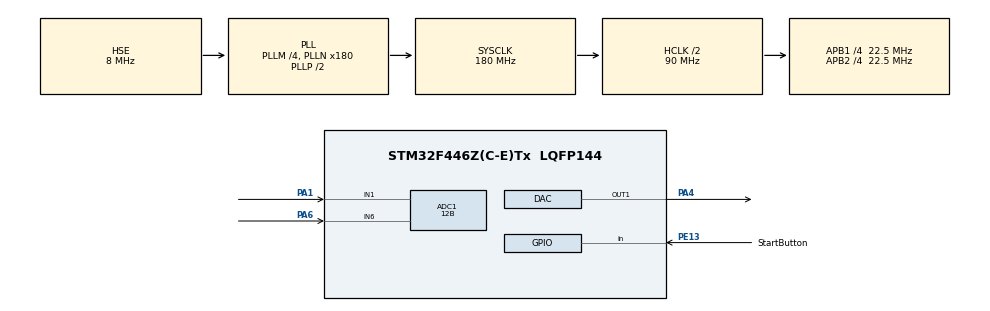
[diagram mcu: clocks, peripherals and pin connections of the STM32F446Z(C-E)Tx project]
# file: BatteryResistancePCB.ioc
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ADC1.Channel-0\#ChannelRegularConversion=ADC_CHANNEL_1
ADC1.Channel-1\#ChannelRegularConversion=ADC_CHANNEL_6
ADC1.ClockPrescaler=ADC_CLOCK_SYNC_PCLK_DIV2
ADC1.ContinuousConvMode=DISABLE
ADC1.DMAContinuousRequests=DISABLE
ADC1.DataAlign=ADC_DATAALIGN_RIGHT
ADC1.DiscontinuousConvMode=DISABLE
ADC1.EOCSelection=ADC_EOC_SINGLE_CONV
ADC1.EnableAnalogWatchDog=false
ADC1.ExternalTrigConv=ADC_SOFTWARE_START
ADC1.ExternalTrigConvEdge=ADC_EXTERNALTRIGCONVEDGE_NONE
ADC1.InjNumberOfConversion=0
ADC1.NbrOfConversion=2
ADC1.NbrOfConversionFlag=1
ADC1.Rank-0\#ChannelRegularConversion=1
ADC1.Rank-1\#ChannelRegularConversion=2
ADC1.Resolution=ADC_RESOLUTION_12B
ADC1.SamplingTime-0\#ChannelRegularConversion=ADC_SAMPLETIME_480CYCLES
ADC1.SamplingTime-1\#ChannelRegularConversion=ADC_SAMPLETIME_480CYCLES
ADC1.ScanConvMode=ENABLE
ADC1.master=1
Mcu.Family=STM32F4
Mcu.Name=STM32F446Z(C-E)Tx
Mcu.Package=LQFP144
NVIC.PriorityGroup=NVIC_PRIORITYGROUP_4
PA1.Signal=ADCx_IN1
PA4.Signal=COMP_DAC1_group
PA6.Signal=ADCx_IN6
PE13.GPIO_Label=StartButton
PE13.GPIO_PuPd=GPIO_PULLUP
PE13.Signal=GPIO_Input
PH0-OSC_IN.Mode=HSE-External-Oscillator
PH0-OSC_IN.Signal=RCC_OSC_IN
PH1-OSC_OUT.Mode=HSE-External-Oscillator
PH1-OSC_OUT.Signal=RCC_OSC_OUT
ProjectManager.HeapSize=0x200
ProjectManager.StackSize=0x400
ProjectManager.TargetToolchain=MDK-ARM V5
RCC.AHBCLKDivider=RCC_SYSCLK_DIV2
RCC.AHBFreq_Value=90000000
RCC.APB1CLKDivider=RCC_HCLK_DIV4
RCC.APB1Freq_Value=22500000
RCC.APB1TimFreq_Value=45000000
RCC.APB2CLKDivider=RCC_HCLK_DIV4
RCC.APB2Freq_Value=22500000
RCC.APB2TimFreq_Value=45000000
RCC.CortexFreq_Value=90000000
RCC.HCLKFreq_Value=90000000
RCC.HSE_VALUE=8000000
RCC.PLLM=4
RCC.PLLN=180
RCC.PLLSourceVirtual=RCC_PLLSOURCE_HSE
RCC.SYSCLKFreq_VALUE=180000000
RCC.SYSCLKSource=RCC_SYSCLKSOURCE_PLLCLK
RCC.USBFreq_Value=180000000
RCC.VCOOutputFreq_Value=360000000
SH.ADCx_IN1.0=ADC1_IN1,IN1
SH.ADCx_IN6.0=ADC1_IN6,IN6
SH.COMP_DAC1_group.0=DAC_OUT1,DAC_OUT1
board=BatteryResistancePCB

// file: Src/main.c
/**
  ******************************************************************************
  * @file           : main.c
  * @brief          : Main program body
  ******************************************************************************
  ** This notice applies to any and all portions of this file
  * that are not between comment pairs USER CODE BEGIN and
  * USER CODE END. Other portions of this file, whether
  * inserted by the user or by software development tools
  * are owned by their respective copyright owners.
  *
  * COPYRIGHT(c) 2018 STMicroelectronics
  *
  * Redistribution and use in source and binary forms, with or without modification,
  * are permitted provided that the following conditions are met:
  *   1. Redistributions of source code must retain the above copyright notice,
  *      this list of conditions and the following disclaimer.
  *   2. Redistributions in binary form must reproduce the above copyright notice,
  *      this list of conditions and the following disclaimer in the documentation
  *      and/or other materials provided with the distribution.
  *   3. Neither the name of STMicroelectronics nor the names of its contributors
  *      may be used to endorse or promote products derived from this software
  *      without specific prior written permission.
  *
  * THIS SOFTWARE IS PROVIDED BY THE COPYRIGHT HOLDERS AND CONTRIBUTORS "AS IS"
  * AND ANY EXPRESS OR IMPLIED WARRANTIES, INCLUDING, BUT NOT LIMITED TO, THE
  * IMPLIED WARRANTIES OF MERCHANTABILITY AND FITNESS FOR A PARTICULAR PURPOSE ARE
  * DISCLAIMED. IN NO EVENT SHALL THE COPYRIGHT HOLDER OR CONTRIBUTORS BE LIABLE
  * FOR ANY DIRECT, INDIRECT, INCIDENTAL, SPECIAL, EXEMPLARY, OR CONSEQUENTIAL
  * DAMAGES (INCLUDING, BUT NOT LIMITED TO, PROCUREMENT OF SUBSTITUTE GOODS OR
  * SERVICES; LOSS OF USE, DATA, OR PROFITS; OR BUSINESS INTERRUPTION) HOWEVER
  * CAUSED AND ON ANY THEORY OF LIABILITY, WHETHER IN CONTRACT, STRICT LIABILITY,
  * OR TORT (INCLUDING NEGLIGENCE OR OTHERWISE) ARISING IN ANY WAY OUT OF THE USE
  * OF THIS SOFTWARE, EVEN IF ADVISED OF THE POSSIBILITY OF SUCH DAMAGE.
  *
  ******************************************************************************
  */
#include "main.h"
#include "stm32f4xx_hal.h"

/* USER CODE BEGIN Includes */
#define UCONTROLLER_VOLTAGE 		3.317
#define DISCHARGE_1C						1.2
#define DISCHARGE_2C						2.4
#define DISCHARGE_20A						3
#define AMPS_1C									8
#define AMPS_2C									16
#define AMPS_20A								20
#define MILLISECONDS						2000
/* USER CODE END Includes */

ADC_HandleTypeDef hadc1;

DAC_HandleTypeDef hdac;

/* USER CODE BEGIN PV */
/* Private variables ---------------------------------------------------------*/

double voltage1 = 0.0;
double voltage2 = 0.0;
double voltage3 = 0.0;
double voltage4 = 0.0;
double cellVoltageWithLoad = 0.0;
double loadVoltage = 0.0;
double realAmps = 0.0;
int dacValue = 0;
int adcValue = 0;
int adcValue2 = 0;
int timeValue = 0;
int flag = 0;
int frequency = 0;
int firstTime = 1;
double tempCellVoltage[10000];
double tempCellVoltageSum = 0.0;
double cellVoltage = 0.0;
double cellVoltageFixed = 0.0;
double internalResistance = 0.0;
/* USER CODE END PV */

void SystemClock_Config(void);
static void MX_GPIO_Init(void);
static void MX_DAC_Init(void);
static void MX_ADC1_Init(void);

/* USER CODE BEGIN PFP */
/* Private function prototypes -----------------------------------------------*/

/* USER CODE END PFP */

int main(void)
{

  /* MCU Configuration----------------------------------------------------------*/

  /* Reset of all peripherals, Initializes the Flash interface and the Systick. */
  HAL_Init();

  /* Configure the system clock */
  SystemClock_Config();

  /* Initialize all configured peripherals */
  MX_GPIO_Init();
  MX_DAC_Init();
  MX_ADC1_Init();
  /* USER CODE BEGIN 2 */
	dacValue = ((DISCHARGE_1C/UCONTROLLER_VOLTAGE)*4096);
	//HAL_DAC_Start(&hdac,DAC_CHANNEL_1);
	//HAL_DAC_SetValue(&hdac,DAC_CHANNEL_1,DAC_ALIGN_12B_R,0);

	for(int i = 0; i < 10000; i++)
	{
		HAL_ADC_Start(&hadc1);
		HAL_ADC_PollForConversion(&hadc1,1);
		adcValue = HAL_ADC_GetValue(&hadc1);
		tempCellVoltage[i] = (((((double)adcValue / 4096)) * UCONTROLLER_VOLTAGE) * 3) / 2;
		tempCellVoltageSum += tempCellVoltage[i];
		//Take the second value and do nothing
		HAL_ADC_PollForConversion(&hadc1,1);
		adcValue2 = HAL_ADC_GetValue(&hadc1);
	}
	cellVoltage = tempCellVoltageSum / 10000;
	cellVoltageFixed = cellVoltage;
	HAL_ADC_Stop(&hadc1);

  /* USER CODE END 2 */

  /* Infinite loop */
  /* USER CODE BEGIN WHILE */
  while (1)
  {
		HAL_ADC_Start(&hadc1);

		HAL_ADC_PollForConversion(&hadc1,1);
		adcValue = HAL_ADC_GetValue(&hadc1);
		cellVoltage = (((((double)adcValue / 4096)) * UCONTROLLER_VOLTAGE) * 3) / 2;

		HAL_ADC_PollForConversion(&hadc1,1);
		adcValue2 = HAL_ADC_GetValue(&hadc1);
		loadVoltage = (((double)adcValue2 / 4096)) * UCONTROLLER_VOLTAGE;

		HAL_ADC_Stop(&hadc1);
  /* USER CODE END WHILE */

  /* USER CODE BEGIN 3 */
		if(!HAL_GPIO_ReadPin(StartButton_GPIO_Port,StartButton_Pin))
		{
			timeValue = HAL_GetTick();
			while(HAL_GetTick() - timeValue < MILLISECONDS)
			{
				HAL_ADC_Start(&hadc1);
				if (firstTime)
				{
					HAL_DAC_Start(&hdac,DAC_CHANNEL_1);
				  HAL_DAC_SetValue(&hdac,DAC_CHANNEL_1,DAC_ALIGN_12B_R,dacValue);
					firstTime = 0;
				}
				HAL_ADC_Start(&hadc1);

				HAL_ADC_PollForConversion(&hadc1,1);
				adcValue = HAL_ADC_GetValue(&hadc1);
				cellVoltage = (((((double)adcValue / 4096)) * UCONTROLLER_VOLTAGE) * 3) / 2;
				cellVoltageWithLoad = cellVoltage;

				HAL_ADC_PollForConversion(&hadc1,1);
				adcValue2 = HAL_ADC_GetValue(&hadc1);
				loadVoltage = (((double)adcValue2 / 4096)) * UCONTROLLER_VOLTAGE;
				realAmps = (loadVoltage / 1.2) * 8;																																																																		//voltage3 = (((double)adcValue / 4096)) * 5;
				//cellVoltageWithLoad = (((((double)adcValue / 4096)) * UCONTROLLER_VOLTAGE) * 3.014) / 2;																	//voltage1 = (((double)adcValue / 4096)) * 3.317;
				internalResistance = ((cellVoltageFixed - cellVoltage) / realAmps) * 1000;																          		//voltage4 = (voltage2 + voltage3) / 2;
			}
			flag = 0;
			firstTime = 1;
			internalResistance = 0;

			HAL_DAC_Stop(&hdac,DAC_CHANNEL_1);
			HAL_ADC_Stop(&hadc1);
		}
	}
  /* USER CODE END 3 */

}

void SystemClock_Config(void)
{

  RCC_OscInitTypeDef RCC_OscInitStruct;
  RCC_ClkInitTypeDef RCC_ClkInitStruct;

    /**Configure the main internal regulator output voltage
    */
  __HAL_RCC_PWR_CLK_ENABLE();

  __HAL_PWR_VOLTAGESCALING_CONFIG(PWR_REGULATOR_VOLTAGE_SCALE3);

    /**Initializes the CPU, AHB and APB busses clocks
    */
  RCC_OscInitStruct.OscillatorType = RCC_OSCILLATORTYPE_HSE;
  RCC_OscInitStruct.HSEState = RCC_HSE_ON;
  RCC_OscInitStruct.PLL.PLLState = RCC_PLL_ON;
  RCC_OscInitStruct.PLL.PLLSource = RCC_PLLSOURCE_HSE;
  RCC_OscInitStruct.PLL.PLLM = 4;
  RCC_OscInitStruct.PLL.PLLN = 180;
  RCC_OscInitStruct.PLL.PLLP = RCC_PLLP_DIV2;
  RCC_OscInitStruct.PLL.PLLQ = 2;
  RCC_OscInitStruct.PLL.PLLR = 2;
  if (HAL_RCC_OscConfig(&RCC_OscInitStruct) != HAL_OK)
  {
    _Error_Handler(__FILE__, __LINE__);
  }

    /**Initializes the CPU, AHB and APB busses clocks
    */
  RCC_ClkInitStruct.ClockType = RCC_CLOCKTYPE_HCLK|RCC_CLOCKTYPE_SYSCLK
                              |RCC_CLOCKTYPE_PCLK1|RCC_CLOCKTYPE_PCLK2;
  RCC_ClkInitStruct.SYSCLKSource = RCC_SYSCLKSOURCE_PLLCLK;
  RCC_ClkInitStruct.AHBCLKDivider = RCC_SYSCLK_DIV2;
  RCC_ClkInitStruct.APB1CLKDivider = RCC_HCLK_DIV4;
  RCC_ClkInitStruct.APB2CLKDivider = RCC_HCLK_DIV4;

  if (HAL_RCC_ClockConfig(&RCC_ClkInitStruct, FLASH_LATENCY_2) != HAL_OK)
  {
    _Error_Handler(__FILE__, __LINE__);
  }

    /**Configure the Systick interrupt time
    */
  HAL_SYSTICK_Config(HAL_RCC_GetHCLKFreq()/1000);

    /**Configure the Systick
    */
  HAL_SYSTICK_CLKSourceConfig(SYSTICK_CLKSOURCE_HCLK);

  /* SysTick_IRQn interrupt configuration */
  HAL_NVIC_SetPriority(SysTick_IRQn, 0, 0);
}

/* ADC1 init function */
static void MX_ADC1_Init(void)
{

  ADC_ChannelConfTypeDef sConfig;

    /**Configure the global features of the ADC (Clock, Resolution, Data Alignment and number of conversion)
    */
  hadc1.Instance = ADC1;
  hadc1.Init.ClockPrescaler = ADC_CLOCK_SYNC_PCLK_DIV2;
  hadc1.Init.Resolution = ADC_RESOLUTION_12B;
  hadc1.Init.ScanConvMode = ENABLE;
  hadc1.Init.ContinuousConvMode = DISABLE;
  hadc1.Init.DiscontinuousConvMode = DISABLE;
  hadc1.Init.ExternalTrigConvEdge = ADC_EXTERNALTRIGCONVEDGE_NONE;
  hadc1.Init.ExternalTrigConv = ADC_SOFTWARE_START;
  hadc1.Init.DataAlign = ADC_DATAALIGN_RIGHT;
  hadc1.Init.NbrOfConversion = 2;
  hadc1.Init.DMAContinuousRequests = DISABLE;
  hadc1.Init.EOCSelection = ADC_EOC_SINGLE_CONV;
  if (HAL_ADC_Init(&hadc1) != HAL_OK)
  {
    _Error_Handler(__FILE__, __LINE__);
  }

    /**Configure for the selected ADC regular channel its corresponding rank in the sequencer and its sample time.
    */
  sConfig.Channel = ADC_CHANNEL_1;
  sConfig.Rank = 1;
  sConfig.SamplingTime = ADC_SAMPLETIME_480CYCLES;
  if (HAL_ADC_ConfigChannel(&hadc1, &sConfig) != HAL_OK)
  {
    _Error_Handler(__FILE__, __LINE__);
  }

    /**Configure for the selected ADC regular channel its corresponding rank in the sequencer and its sample time.
    */
  sConfig.Channel = ADC_CHANNEL_6;
  sConfig.Rank = 2;
  if (HAL_ADC_ConfigChannel(&hadc1, &sConfig) != HAL_OK)
  {
    _Error_Handler(__FILE__, __LINE__);
  }

}

/* DAC init function */
static void MX_DAC_Init(void)
{

  DAC_ChannelConfTypeDef sConfig;

    /**DAC Initialization
    */
  hdac.Instance = DAC;
  if (HAL_DAC_Init(&hdac) != HAL_OK)
  {
    _Error_Handler(__FILE__, __LINE__);
  }

    /**DAC channel OUT1 config
    */
  sConfig.DAC_Trigger = DAC_TRIGGER_NONE;
  sConfig.DAC_OutputBuffer = DAC_OUTPUTBUFFER_ENABLE;
  if (HAL_DAC_ConfigChannel(&hdac, &sConfig, DAC_CHANNEL_1) != HAL_OK)
  {
    _Error_Handler(__FILE__, __LINE__);
  }

}

/** Configure pins as
        * Analog
        * Input
        * Output
        * EVENT_OUT
        * EXTI
*/
static void MX_GPIO_Init(void)
{

  GPIO_InitTypeDef GPIO_InitStruct;

  /* GPIO Ports Clock Enable */
  __HAL_RCC_GPIOH_CLK_ENABLE();
  __HAL_RCC_GPIOA_CLK_ENABLE();
  __HAL_RCC_GPIOE_CLK_ENABLE();

  /*Configure GPIO pin : StartButton_Pin */
  GPIO_InitStruct.Pin = StartButton_Pin;
  GPIO_InitStruct.Mode = GPIO_MODE_INPUT;
  GPIO_InitStruct.Pull = GPIO_PULLUP;
  HAL_GPIO_Init(StartButton_GPIO_Port, &GPIO_InitStruct);

}

void _Error_Handler(char *file, int line)
{
  while(1)
  {
  }
}

/************************ (C) COPYRIGHT STMicroelectronics *****END OF FILE****/
